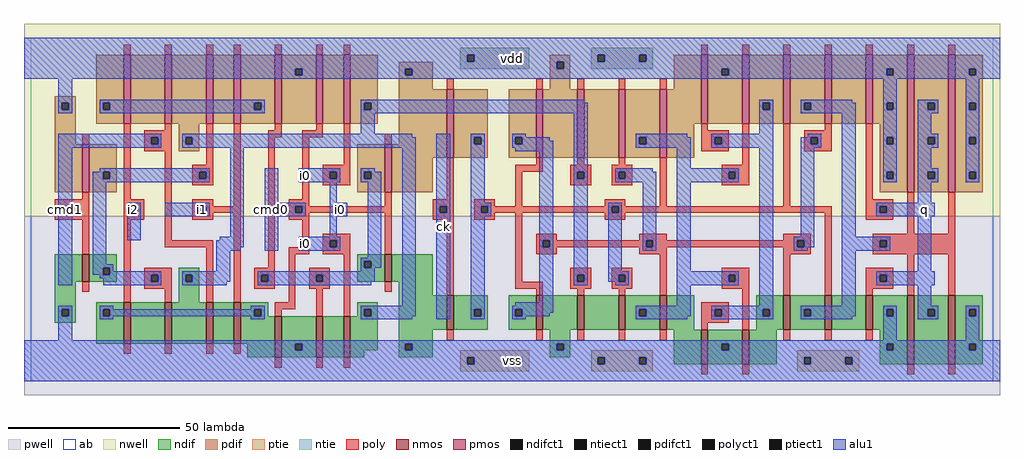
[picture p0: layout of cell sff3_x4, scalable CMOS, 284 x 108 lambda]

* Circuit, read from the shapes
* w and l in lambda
.subckt sff3_x4 ck cmd0 cmd1 i0 i1 i2 q vdd vss
M1 n1 cmd1 vss vss nfet w=8 l=2
M2 n2 i2 n3 vss nfet w=12 l=2
M3 n4 n1 n2 vss nfet w=12 l=2
M4 n5 cmd1 n4 vss nfet w=12 l=2
M5 n3 i1 n5 vss nfet w=12 l=2
M6 vss cmd0 n3 vss nfet w=12 l=2
M7 n6 n7 vss vss nfet w=12 l=2
M8 n4 i0 n6 vss nfet w=12 l=2
M9 vss cmd0 n7 vss nfet w=8 l=2
M10 n8 ck vss vss nfet w=10 l=2
M11 vss n8 n9 vss nfet w=10 l=2
M12 n10 n4 vss vss nfet w=10 l=2
M13 n11 n8 n10 vss nfet w=10 l=2
M14 n12 n9 n11 vss nfet w=10 l=2
M15 vss n13 n12 vss nfet w=10 l=2
M16 n13 n11 vss vss nfet w=10 l=2
M17 n14 n9 n13 vss nfet w=10 l=2
M18 n15 n8 n14 vss nfet w=10 l=2
M19 vss q n15 vss nfet w=10 l=2
M20 q n14 vss vss nfet w=20 l=2 m=2
M21 n1 cmd1 vdd vdd pfet w=14 l=2
M22 n16 i2 n17 vdd pfet w=20 l=2
M23 n4 cmd1 n16 vdd pfet w=20 l=2
M24 n18 n1 n4 vdd pfet w=20 l=2
M25 n17 i1 n18 vdd pfet w=20 l=2
M26 vdd n7 n17 vdd pfet w=20 l=2
M27 n19 cmd0 vdd vdd pfet w=20 l=2
M28 n4 i0 n19 vdd pfet w=20 l=2
M29 vdd cmd0 n7 vdd pfet w=14 l=2
M30 n8 ck vdd vdd pfet w=20 l=2
M31 vdd n8 n9 vdd pfet w=20 l=2
M32 n20 n4 vdd vdd pfet w=20 l=2
M33 n11 n9 n20 vdd pfet w=20 l=2
M34 n21 n8 n11 vdd pfet w=20 l=2
M35 vdd n13 n21 vdd pfet w=20 l=2
M36 n13 n11 vdd vdd pfet w=20 l=2
M37 n14 n8 n13 vdd pfet w=20 l=2
M38 n22 n9 n14 vdd pfet w=20 l=2
M39 vdd q n22 vdd pfet w=20 l=2
M40 q n14 vdd vdd pfet w=40 l=2 m=2
.ends

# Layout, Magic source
magic
tech scmos
<< ab >>
rect 0 0 280 100
<< nwell >>
rect -2 48 282 104
<< pwell >>
rect -2 -4 282 48
<< poly >>
rect 27 95 29 98
rect 39 95 41 98
rect 51 95 53 98
rect 59 95 61 98
rect 71 95 73 98
rect 83 95 85 98
rect 91 95 93 98
rect 195 95 197 98
rect 207 95 209 98
rect 219 95 221 98
rect 231 95 233 98
rect 243 95 245 98
rect 255 95 257 98
rect 267 95 269 98
rect 121 85 123 88
rect 147 85 149 88
rect 159 85 161 88
rect 171 85 173 88
rect 183 85 185 88
rect 15 69 17 72
rect 15 53 17 55
rect 7 51 17 53
rect 7 49 9 51
rect 11 49 17 51
rect 7 47 17 49
rect 15 37 17 47
rect 27 53 29 75
rect 39 73 41 75
rect 33 71 41 73
rect 33 69 35 71
rect 37 69 41 71
rect 33 67 41 69
rect 27 51 33 53
rect 27 49 29 51
rect 31 49 33 51
rect 27 47 33 49
rect 15 26 17 29
rect 27 23 29 47
rect 39 41 41 67
rect 51 63 53 75
rect 47 61 53 63
rect 47 59 49 61
rect 51 59 53 61
rect 47 57 53 59
rect 47 51 53 53
rect 59 51 61 75
rect 71 73 73 75
rect 83 73 85 75
rect 47 49 49 51
rect 51 49 61 51
rect 47 47 53 49
rect 39 39 53 41
rect 33 31 41 33
rect 33 29 35 31
rect 37 29 41 31
rect 33 27 41 29
rect 39 23 41 27
rect 51 23 53 39
rect 59 23 61 49
rect 69 71 73 73
rect 79 71 85 73
rect 69 33 71 71
rect 79 53 81 71
rect 91 63 93 75
rect 103 69 105 72
rect 85 61 93 63
rect 85 59 87 61
rect 89 59 93 61
rect 85 57 93 59
rect 195 73 197 75
rect 195 71 203 73
rect 195 69 199 71
rect 201 69 203 71
rect 195 67 203 69
rect 75 51 81 53
rect 103 51 105 55
rect 121 53 123 65
rect 147 63 149 65
rect 159 63 161 65
rect 171 63 173 65
rect 141 61 149 63
rect 157 61 163 63
rect 75 49 77 51
rect 79 49 105 51
rect 75 47 81 49
rect 79 39 81 47
rect 65 31 71 33
rect 65 29 67 31
rect 69 29 71 31
rect 65 27 71 29
rect 75 37 81 39
rect 85 41 93 43
rect 85 39 87 41
rect 89 39 93 41
rect 85 37 93 39
rect 103 37 105 49
rect 117 51 123 53
rect 117 49 119 51
rect 121 49 123 51
rect 117 47 123 49
rect 129 51 135 53
rect 141 51 143 61
rect 157 59 159 61
rect 161 59 163 61
rect 157 57 163 59
rect 169 61 175 63
rect 169 59 171 61
rect 173 59 175 61
rect 169 57 175 59
rect 167 51 173 53
rect 183 51 185 65
rect 207 63 209 75
rect 201 61 209 63
rect 201 59 203 61
rect 205 59 209 61
rect 201 57 209 59
rect 219 51 221 75
rect 231 73 233 75
rect 225 71 233 73
rect 225 69 227 71
rect 229 69 233 71
rect 225 67 233 69
rect 243 53 245 75
rect 243 51 251 53
rect 129 49 131 51
rect 133 49 169 51
rect 171 49 233 51
rect 129 47 135 49
rect 75 23 77 37
rect 81 31 87 33
rect 81 29 83 31
rect 85 29 87 31
rect 81 27 87 29
rect 71 21 77 23
rect 71 19 73 21
rect 83 19 85 27
rect 91 19 93 37
rect 103 26 105 29
rect 121 25 123 47
rect 141 29 143 49
rect 167 47 173 49
rect 147 41 153 43
rect 177 41 185 43
rect 219 41 227 43
rect 147 39 149 41
rect 151 39 179 41
rect 181 39 223 41
rect 225 39 227 41
rect 147 37 153 39
rect 177 37 185 39
rect 157 31 163 33
rect 157 29 159 31
rect 161 29 163 31
rect 141 27 149 29
rect 157 27 163 29
rect 169 31 175 33
rect 169 29 171 31
rect 173 29 175 31
rect 169 27 175 29
rect 147 25 149 27
rect 159 25 161 27
rect 171 25 173 27
rect 183 25 185 37
rect 219 37 227 39
rect 201 31 209 33
rect 201 29 203 31
rect 205 29 209 31
rect 201 27 209 29
rect 27 8 29 11
rect 39 8 41 11
rect 51 8 53 11
rect 59 8 61 11
rect 195 21 203 23
rect 195 19 199 21
rect 201 19 203 21
rect 195 17 203 19
rect 195 15 197 17
rect 207 15 209 27
rect 219 25 221 37
rect 231 25 233 49
rect 243 49 247 51
rect 249 49 251 51
rect 243 47 251 49
rect 255 43 257 55
rect 267 43 269 55
rect 245 41 269 43
rect 245 39 247 41
rect 249 39 269 41
rect 245 37 269 39
rect 243 31 251 33
rect 243 29 247 31
rect 249 29 251 31
rect 243 27 251 29
rect 243 25 245 27
rect 255 25 257 37
rect 267 25 269 37
rect 121 12 123 15
rect 147 12 149 15
rect 159 12 161 15
rect 171 12 173 15
rect 183 12 185 15
rect 71 4 73 7
rect 83 4 85 7
rect 91 4 93 7
rect 219 12 221 15
rect 231 12 233 15
rect 243 12 245 15
rect 195 2 197 5
rect 207 2 209 5
rect 255 2 257 5
rect 267 2 269 5
<< ndif >>
rect 7 29 15 37
rect 17 33 25 37
rect 17 31 21 33
rect 23 31 25 33
rect 17 29 25 31
rect 7 21 13 29
rect 43 31 49 33
rect 43 29 45 31
rect 47 29 49 31
rect 43 23 49 29
rect 7 19 9 21
rect 11 19 13 21
rect 7 17 13 19
rect 19 21 27 23
rect 19 19 21 21
rect 23 19 27 21
rect 19 11 27 19
rect 29 11 39 23
rect 41 11 51 23
rect 53 11 59 23
rect 61 21 69 23
rect 61 19 65 21
rect 67 19 69 21
rect 95 35 103 37
rect 95 33 97 35
rect 99 33 103 35
rect 95 29 103 33
rect 105 29 117 37
rect 107 25 117 29
rect 95 21 101 23
rect 95 19 97 21
rect 99 19 101 21
rect 61 11 71 19
rect 63 7 71 11
rect 73 11 83 19
rect 73 9 77 11
rect 79 9 83 11
rect 73 7 83 9
rect 85 7 91 19
rect 93 9 101 19
rect 107 15 121 25
rect 123 21 133 25
rect 123 19 129 21
rect 131 19 133 21
rect 123 15 133 19
rect 139 21 147 25
rect 139 19 141 21
rect 143 19 147 21
rect 139 15 147 19
rect 149 15 159 25
rect 161 15 171 25
rect 173 21 183 25
rect 173 19 177 21
rect 179 19 183 21
rect 173 15 183 19
rect 185 15 193 25
rect 211 21 219 25
rect 211 19 213 21
rect 215 19 219 21
rect 211 15 219 19
rect 221 21 231 25
rect 221 19 225 21
rect 227 19 231 21
rect 221 15 231 19
rect 233 15 243 25
rect 245 21 255 25
rect 245 19 249 21
rect 251 19 255 21
rect 245 15 255 19
rect 107 11 117 15
rect 107 9 109 11
rect 111 9 117 11
rect 151 11 157 15
rect 151 9 153 11
rect 155 9 157 11
rect 93 7 97 9
rect 107 7 117 9
rect 151 7 157 9
rect 187 5 195 15
rect 197 11 207 15
rect 197 9 201 11
rect 203 9 207 11
rect 197 5 207 9
rect 209 5 217 15
rect 247 11 255 15
rect 247 9 249 11
rect 251 9 255 11
rect 247 5 255 9
rect 257 21 267 25
rect 257 19 261 21
rect 263 19 267 21
rect 257 5 267 19
rect 269 21 277 25
rect 269 19 273 21
rect 275 19 277 21
rect 269 11 277 19
rect 269 9 273 11
rect 275 9 277 11
rect 269 5 277 9
<< pdif >>
rect 7 81 13 83
rect 7 79 9 81
rect 11 79 13 81
rect 7 69 13 79
rect 19 81 27 95
rect 19 79 21 81
rect 23 79 27 81
rect 19 75 27 79
rect 29 75 39 95
rect 41 75 51 95
rect 53 75 59 95
rect 61 81 71 95
rect 61 79 65 81
rect 67 79 71 81
rect 61 75 71 79
rect 73 91 83 95
rect 73 89 77 91
rect 79 89 83 91
rect 73 75 83 89
rect 85 75 91 95
rect 93 81 101 95
rect 93 79 97 81
rect 99 79 101 81
rect 93 75 101 79
rect 107 91 117 93
rect 151 93 157 95
rect 151 91 153 93
rect 155 91 157 93
rect 107 89 109 91
rect 111 89 117 91
rect 107 85 117 89
rect 151 85 157 91
rect 187 85 195 95
rect 7 55 15 69
rect 17 61 25 69
rect 17 59 21 61
rect 23 59 25 61
rect 17 55 25 59
rect 43 71 49 75
rect 43 69 45 71
rect 47 69 49 71
rect 43 67 49 69
rect 107 69 121 85
rect 95 61 103 69
rect 95 59 97 61
rect 99 59 103 61
rect 95 55 103 59
rect 105 65 121 69
rect 123 71 133 85
rect 123 69 129 71
rect 131 69 133 71
rect 123 65 133 69
rect 139 71 147 85
rect 139 69 141 71
rect 143 69 147 71
rect 139 65 147 69
rect 149 65 159 85
rect 161 65 171 85
rect 173 71 183 85
rect 173 69 177 71
rect 179 69 183 71
rect 173 65 183 69
rect 185 75 195 85
rect 197 91 207 95
rect 197 89 201 91
rect 203 89 207 91
rect 197 75 207 89
rect 209 81 219 95
rect 209 79 213 81
rect 215 79 219 81
rect 209 75 219 79
rect 221 81 231 95
rect 221 79 225 81
rect 227 79 231 81
rect 221 75 231 79
rect 233 75 243 95
rect 245 91 255 95
rect 245 89 249 91
rect 251 89 255 91
rect 245 81 255 89
rect 245 79 249 81
rect 251 79 255 81
rect 245 75 255 79
rect 185 65 193 75
rect 105 55 117 65
rect 247 71 255 75
rect 247 69 249 71
rect 251 69 255 71
rect 247 61 255 69
rect 247 59 249 61
rect 251 59 255 61
rect 247 55 255 59
rect 257 81 267 95
rect 257 79 261 81
rect 263 79 267 81
rect 257 71 267 79
rect 257 69 261 71
rect 263 69 267 71
rect 257 61 267 69
rect 257 59 261 61
rect 263 59 267 61
rect 257 55 267 59
rect 269 91 277 95
rect 269 89 273 91
rect 275 89 277 91
rect 269 81 277 89
rect 269 79 273 81
rect 275 79 277 81
rect 269 71 277 79
rect 269 69 273 71
rect 275 69 277 71
rect 269 61 277 69
rect 269 59 273 61
rect 275 59 277 61
rect 269 55 277 59
<< alu1 >>
rect -2 95 282 100
rect -2 93 127 95
rect 129 93 141 95
rect 143 93 165 95
rect 167 93 177 95
rect 179 93 282 95
rect -2 91 153 93
rect 155 91 282 93
rect -2 89 77 91
rect 79 89 109 91
rect 111 89 201 91
rect 203 89 249 91
rect 251 89 273 91
rect 275 89 282 91
rect -2 88 282 89
rect 8 81 12 88
rect 8 79 9 81
rect 11 79 12 81
rect 8 78 12 79
rect 20 81 68 82
rect 20 79 21 81
rect 23 79 65 81
rect 67 79 68 81
rect 20 78 68 79
rect 96 81 161 82
rect 212 81 216 82
rect 96 79 97 81
rect 99 79 162 81
rect 96 78 162 79
rect 96 72 100 78
rect 8 71 38 72
rect 8 69 35 71
rect 37 69 38 71
rect 8 68 38 69
rect 44 71 111 72
rect 44 69 45 71
rect 47 69 112 71
rect 44 68 112 69
rect 8 51 12 68
rect 20 61 52 62
rect 8 49 9 51
rect 11 49 12 51
rect 8 28 12 49
rect 18 59 21 61
rect 23 59 49 61
rect 51 59 52 61
rect 18 58 52 59
rect 18 34 22 58
rect 28 51 32 52
rect 28 49 29 51
rect 31 49 32 51
rect 28 41 32 49
rect 39 51 52 52
rect 39 49 49 51
rect 51 49 52 51
rect 39 48 52 49
rect 58 42 62 68
rect 55 41 62 42
rect 54 39 62 41
rect 68 52 72 62
rect 78 61 90 62
rect 78 59 87 61
rect 89 59 90 61
rect 78 58 90 59
rect 96 61 100 62
rect 96 59 97 61
rect 99 59 102 61
rect 96 58 102 59
rect 87 52 89 58
rect 68 51 80 52
rect 68 49 77 51
rect 79 49 80 51
rect 68 48 80 49
rect 87 48 92 52
rect 54 38 61 39
rect 68 38 72 48
rect 87 42 89 48
rect 78 41 90 42
rect 78 39 87 41
rect 89 39 90 41
rect 78 38 90 39
rect 18 33 24 34
rect 18 31 21 33
rect 23 32 24 33
rect 54 32 58 38
rect 98 36 102 58
rect 96 35 102 36
rect 96 33 97 35
rect 99 33 102 35
rect 96 32 100 33
rect 23 31 38 32
rect 20 30 35 31
rect 21 29 35 30
rect 37 29 38 31
rect 21 28 38 29
rect 44 31 58 32
rect 44 29 45 31
rect 47 29 58 31
rect 66 31 100 32
rect 66 29 67 31
rect 69 29 83 31
rect 85 29 100 31
rect 44 28 57 29
rect 66 28 99 29
rect 108 22 112 68
rect 8 21 12 22
rect 8 19 9 21
rect 11 19 12 21
rect 8 12 12 19
rect 20 21 24 22
rect 64 21 68 22
rect 20 19 21 21
rect 23 19 65 21
rect 67 19 68 21
rect 20 18 24 19
rect 64 18 68 19
rect 96 21 112 22
rect 96 19 97 21
rect 99 19 112 21
rect 118 51 122 72
rect 118 49 119 51
rect 121 49 122 51
rect 96 18 111 19
rect 118 18 122 49
rect 128 71 132 72
rect 128 69 129 71
rect 131 69 132 71
rect 128 52 132 69
rect 140 71 144 72
rect 140 69 141 71
rect 143 70 151 71
rect 143 69 152 70
rect 140 68 152 69
rect 141 67 152 68
rect 128 51 134 52
rect 128 49 131 51
rect 133 49 134 51
rect 128 48 134 49
rect 128 21 132 48
rect 148 41 152 67
rect 148 39 149 41
rect 151 39 152 41
rect 148 23 152 39
rect 158 61 162 78
rect 212 79 213 81
rect 215 79 216 81
rect 212 72 216 79
rect 224 81 239 82
rect 248 81 252 88
rect 224 79 225 81
rect 227 79 240 81
rect 224 78 240 79
rect 176 71 191 72
rect 198 71 216 72
rect 226 71 230 72
rect 176 69 177 71
rect 179 69 192 71
rect 176 68 192 69
rect 198 69 199 71
rect 201 69 216 71
rect 198 68 216 69
rect 188 62 192 68
rect 158 59 159 61
rect 161 59 162 61
rect 158 31 162 59
rect 170 61 181 62
rect 188 61 206 62
rect 170 59 171 61
rect 173 59 182 61
rect 170 58 182 59
rect 158 29 159 31
rect 161 29 162 31
rect 168 51 172 52
rect 168 49 169 51
rect 171 49 172 51
rect 168 32 172 49
rect 178 41 182 58
rect 178 39 179 41
rect 181 39 182 41
rect 178 38 182 39
rect 188 59 203 61
rect 205 59 206 61
rect 188 58 206 59
rect 188 32 192 58
rect 168 31 174 32
rect 168 29 171 31
rect 173 29 174 31
rect 158 28 162 29
rect 170 28 174 29
rect 188 31 206 32
rect 188 29 203 31
rect 205 29 206 31
rect 188 28 206 29
rect 141 22 152 23
rect 188 22 192 28
rect 212 22 216 68
rect 224 69 227 71
rect 229 69 230 71
rect 224 68 230 69
rect 224 42 228 68
rect 222 41 228 42
rect 222 39 223 41
rect 225 39 228 41
rect 236 42 240 78
rect 248 79 249 81
rect 251 79 252 81
rect 248 71 252 79
rect 248 69 249 71
rect 251 69 252 71
rect 248 61 252 69
rect 248 59 249 61
rect 251 59 252 61
rect 248 58 252 59
rect 258 81 264 82
rect 258 79 261 81
rect 263 79 264 81
rect 258 78 264 79
rect 272 81 276 88
rect 272 79 273 81
rect 275 79 276 81
rect 258 72 262 78
rect 258 71 264 72
rect 258 69 261 71
rect 263 69 264 71
rect 258 68 264 69
rect 272 71 276 79
rect 272 69 273 71
rect 275 69 276 71
rect 258 62 262 68
rect 258 61 264 62
rect 258 59 261 61
rect 263 59 264 61
rect 258 58 264 59
rect 272 61 276 69
rect 272 59 273 61
rect 275 59 276 61
rect 272 58 276 59
rect 258 52 262 58
rect 246 51 263 52
rect 246 49 247 51
rect 249 49 263 51
rect 246 48 263 49
rect 236 41 250 42
rect 236 39 247 41
rect 249 39 250 41
rect 222 38 226 39
rect 236 38 250 39
rect 236 22 240 38
rect 258 32 262 48
rect 246 31 263 32
rect 246 29 247 31
rect 249 29 263 31
rect 246 28 263 29
rect 258 22 262 28
rect 128 19 129 21
rect 131 19 132 21
rect 128 18 132 19
rect 140 21 152 22
rect 140 19 141 21
rect 143 20 152 21
rect 176 21 192 22
rect 143 19 151 20
rect 176 19 177 21
rect 179 19 192 21
rect 198 21 216 22
rect 198 19 199 21
rect 201 19 213 21
rect 215 19 216 21
rect 140 18 144 19
rect 176 18 191 19
rect 198 18 216 19
rect 224 21 240 22
rect 224 19 225 21
rect 227 19 240 21
rect 248 21 252 22
rect 248 19 249 21
rect 251 19 252 21
rect 224 18 239 19
rect 248 12 252 19
rect 258 21 264 22
rect 258 19 261 21
rect 263 19 264 21
rect 258 18 264 19
rect 272 21 276 22
rect 272 19 273 21
rect 275 19 276 21
rect 272 12 276 19
rect -2 11 282 12
rect -2 9 77 11
rect 79 9 109 11
rect 111 9 153 11
rect 155 9 201 11
rect 203 9 249 11
rect 251 9 273 11
rect 275 9 282 11
rect -2 7 282 9
rect -2 5 127 7
rect 129 5 141 7
rect 143 5 165 7
rect 167 5 177 7
rect 179 5 225 7
rect 227 5 237 7
rect 239 5 282 7
rect -2 0 282 5
<< ptie >>
rect 125 7 145 9
rect 163 7 181 9
rect 125 5 127 7
rect 129 5 141 7
rect 143 5 145 7
rect 125 3 145 5
rect 163 5 165 7
rect 167 5 177 7
rect 179 5 181 7
rect 223 7 241 9
rect 223 5 225 7
rect 227 5 237 7
rect 239 5 241 7
rect 163 3 181 5
rect 223 3 241 5
<< ntie >>
rect 125 95 145 97
rect 163 95 181 97
rect 125 93 127 95
rect 129 93 141 95
rect 143 93 145 95
rect 125 91 145 93
rect 163 93 165 95
rect 167 93 177 95
rect 179 93 181 95
rect 163 91 181 93
<< nmos >>
rect 15 29 17 37
rect 27 11 29 23
rect 39 11 41 23
rect 51 11 53 23
rect 59 11 61 23
rect 103 29 105 37
rect 71 7 73 19
rect 83 7 85 19
rect 91 7 93 19
rect 121 15 123 25
rect 147 15 149 25
rect 159 15 161 25
rect 171 15 173 25
rect 183 15 185 25
rect 219 15 221 25
rect 231 15 233 25
rect 243 15 245 25
rect 195 5 197 15
rect 207 5 209 15
rect 255 5 257 25
rect 267 5 269 25
<< pmos >>
rect 27 75 29 95
rect 39 75 41 95
rect 51 75 53 95
rect 59 75 61 95
rect 71 75 73 95
rect 83 75 85 95
rect 91 75 93 95
rect 15 55 17 69
rect 103 55 105 69
rect 121 65 123 85
rect 147 65 149 85
rect 159 65 161 85
rect 171 65 173 85
rect 183 65 185 85
rect 195 75 197 95
rect 207 75 209 95
rect 219 75 221 95
rect 231 75 233 95
rect 243 75 245 95
rect 255 55 257 95
rect 267 55 269 95
<< polyct1 >>
rect 9 49 11 51
rect 35 69 37 71
rect 29 49 31 51
rect 49 59 51 61
rect 49 49 51 51
rect 35 29 37 31
rect 87 59 89 61
rect 199 69 201 71
rect 77 49 79 51
rect 67 29 69 31
rect 87 39 89 41
rect 119 49 121 51
rect 159 59 161 61
rect 171 59 173 61
rect 203 59 205 61
rect 227 69 229 71
rect 131 49 133 51
rect 169 49 171 51
rect 83 29 85 31
rect 149 39 151 41
rect 179 39 181 41
rect 223 39 225 41
rect 159 29 161 31
rect 171 29 173 31
rect 203 29 205 31
rect 199 19 201 21
rect 247 49 249 51
rect 247 39 249 41
rect 247 29 249 31
<< ndifct1 >>
rect 21 31 23 33
rect 45 29 47 31
rect 9 19 11 21
rect 21 19 23 21
rect 65 19 67 21
rect 97 33 99 35
rect 97 19 99 21
rect 77 9 79 11
rect 129 19 131 21
rect 141 19 143 21
rect 177 19 179 21
rect 213 19 215 21
rect 225 19 227 21
rect 249 19 251 21
rect 109 9 111 11
rect 153 9 155 11
rect 201 9 203 11
rect 249 9 251 11
rect 261 19 263 21
rect 273 19 275 21
rect 273 9 275 11
<< ntiect1 >>
rect 127 93 129 95
rect 141 93 143 95
rect 165 93 167 95
rect 177 93 179 95
<< ptiect1 >>
rect 127 5 129 7
rect 141 5 143 7
rect 165 5 167 7
rect 177 5 179 7
rect 225 5 227 7
rect 237 5 239 7
<< pdifct1 >>
rect 9 79 11 81
rect 21 79 23 81
rect 65 79 67 81
rect 77 89 79 91
rect 97 79 99 81
rect 153 91 155 93
rect 109 89 111 91
rect 21 59 23 61
rect 45 69 47 71
rect 97 59 99 61
rect 129 69 131 71
rect 141 69 143 71
rect 177 69 179 71
rect 201 89 203 91
rect 213 79 215 81
rect 225 79 227 81
rect 249 89 251 91
rect 249 79 251 81
rect 249 69 251 71
rect 249 59 251 61
rect 261 79 263 81
rect 261 69 263 71
rect 261 59 263 61
rect 273 89 275 91
rect 273 79 275 81
rect 273 69 275 71
rect 273 59 275 61
<< labels >>
rlabel polyct1 30 50 30 50 6 i2
rlabel polyct1 10 50 10 50 6 cmd1
rlabel alu1 80 40 80 40 6 i0
rlabel polyct1 50 50 50 50 6 i1
rlabel alu1 70 50 70 50 6 cmd0
rlabel alu1 80 60 80 60 6 i0
rlabel alu1 120 45 120 45 6 ck
rlabel alu1 90 50 90 50 6 i0
rlabel alu1 140 6 140 6 6 vss
rlabel alu1 140 94 140 94 6 vdd
rlabel alu1 260 50 260 50 6 q
<< end >>
